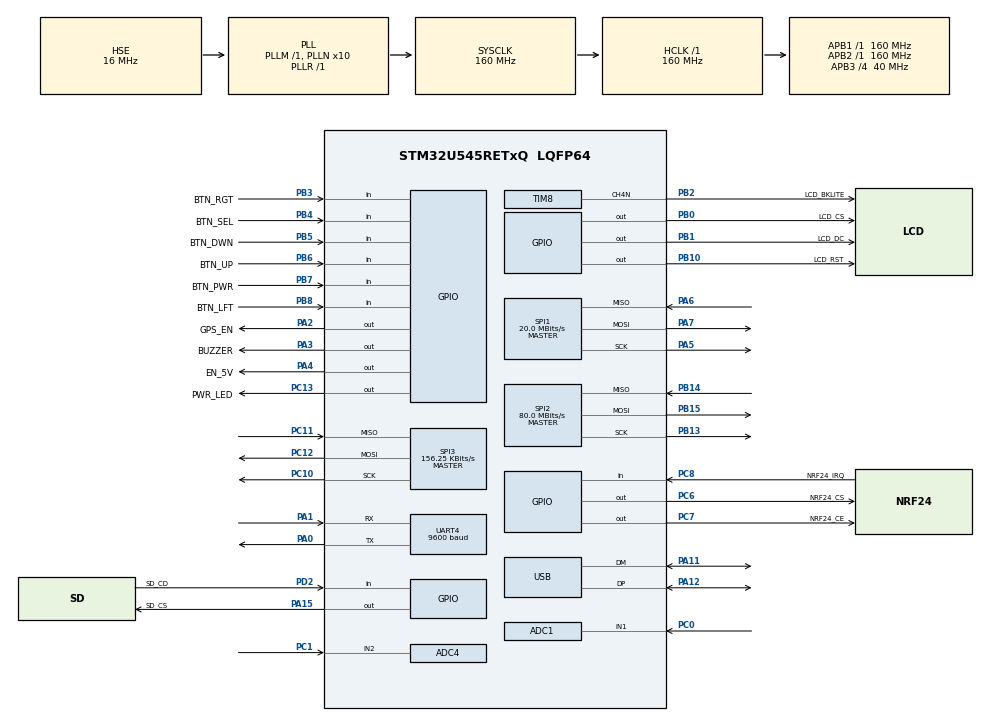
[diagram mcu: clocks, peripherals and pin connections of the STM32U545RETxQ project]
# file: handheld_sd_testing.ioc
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ADC1.Channel-6\#ChannelRegularConversion=ADC_CHANNEL_1
ADC1.ClockPrescaler=ADC_CLOCK_ASYNC_DIV4
ADC1.EnableAnalogWatchDog1=false
ADC1.MonitoredBy-6\#ChannelRegularConversion=__NULL
ADC1.NbrOfConversionFlag=1
ADC1.OffsetNumber-6\#ChannelRegularConversion=ADC_OFFSET_NONE
ADC1.Rank-6\#ChannelRegularConversion=1
ADC1.SamplingTime-6\#ChannelRegularConversion=ADC_SAMPLETIME_20CYCLES
ADC1.TriggerFrequencyMode=ADC_TRIGGER_FREQ_HIGH
ADC1.master=1
ADC4.Channel-2\#ChannelRegularConversion=ADC_CHANNEL_2
ADC4.ClockPrescaler=ADC_CLOCK_ASYNC_DIV4
ADC4.EnableRegularConversion=ENABLE
ADC4.NbrOfConversion=1
ADC4.NbrOfConversionFlag=1
ADC4.OffsetNumber-2\#ChannelRegularConversion=ADC_OFFSET_NONE
ADC4.Rank-2\#ChannelRegularConversion=1
ADC4.RankArg-2\#ChannelRegularConversion=ADC4_REGULAR_RANK_1
ADC4.SamplingTime-2\#ChannelRegularConversion=ADC4_SAMPLINGTIME_COMMON_1
ADC4.SelectedChannel=ADC_CHANNEL_2
CORTEX_M33_NS.userName=CORTEX_M33
GPDMA1.DATAHANDLING_GPDMACH0=NONE
GPDMA1.DESTBURSTLENGTH_GPDMACH0=1
GPDMA1.DESTDATAWIDTH_GPDMACH0=DMA_DEST_DATAWIDTH_HALFWORD
GPDMA1.DIRECTION_GPDMACH0=DMA_MEMORY_TO_PERIPH
GPDMA1.IPHANDLE_GPDMACH0-SIMPLEREQUEST_GPDMACH0=__NULL
GPDMA1.PRIORITY_GPDMACH0=DMA_LOW_PRIORITY_LOW_WEIGHT
GPDMA1.REQUEST_GPDMACH0=GPDMA1_REQUEST_SPI1_TX
GPDMA1.SRCBURSTLENGTH_GPDMACH0=1
GPDMA1.SRCDATAWIDTH_GPDMACH0=DMA_SRC_DATAWIDTH_HALFWORD
GPDMA1.SRCINC_GPDMACH0=DMA_SINC_INCREMENTED
GPDMA1.TRIGGERPOLARITY_GPDMACH0=DMA_TRIG_POLARITY_MASKED
Mcu.Family=STM32U5
Mcu.Name=STM32U545RETxQ
Mcu.Package=LQFP64
NVIC.ADC1_IRQn=true\:0\:0\:false\:false\:true\:true\:true\:true
NVIC.GPDMA1_Channel0_IRQn=true\:0\:0\:false\:false\:true\:false\:true\:true
NVIC.PriorityGroup=NVIC_PRIORITYGROUP_4
NVIC.SPI1_IRQn=true\:0\:0\:false\:false\:true\:false\:true\:true
NVIC.TIM6_IRQn=true\:0\:0\:false\:false\:true\:true\:true\:true
NVIC.UART4_IRQn=true\:0\:0\:false\:false\:true\:true\:true\:true
PA0.Mode=Asynchronous
PA0.Signal=UART4_TX
PA1.Mode=Asynchronous
PA1.Signal=UART4_RX
PA11.Mode=Host
PA11.Signal=USB_DM
PA12.Mode=Host
PA12.Signal=USB_DP
PA13\ (JTMS/SWDIO).Mode=Serial_Wire
PA13\ (JTMS/SWDIO).Signal=DEBUG_JTMS-SWDIO
PA14\ (JTCK/SWCLK).Mode=Serial_Wire
PA14\ (JTCK/SWCLK).Signal=DEBUG_JTCK-SWCLK
PA15\ (JTDI).GPIO_Label=SD_CS
PA15\ (JTDI).Signal=GPIO_Output
PA2.GPIO_Label=GPS_EN
PA2.Signal=GPIO_Output
PA3.GPIO_Label=BUZZER
PA3.Signal=GPIO_Output
PA4.GPIO_Label=EN_5V
PA4.Signal=GPIO_Output
PA5.Mode=Full_Duplex_Master
PA5.Signal=SPI1_SCK
PA6.Mode=Full_Duplex_Master
PA6.Signal=SPI1_MISO
PA7.Mode=Full_Duplex_Master
PA7.Signal=SPI1_MOSI
PB0.GPIO_Label=LCD_CS
PB0.Signal=GPIO_Output
PB1.GPIO_Label=LCD_DC
PB1.Signal=GPIO_Output
PB10.GPIO_Label=LCD_RST
PB10.Signal=GPIO_Output
PB13.Mode=Full_Duplex_Master
PB13.Signal=SPI2_SCK
PB14.Mode=Full_Duplex_Master
PB14.Signal=SPI2_MISO
PB15.Mode=Full_Duplex_Master
PB15.Signal=SPI2_MOSI
PB2.GPIO_Label=LCD_BKLITE
PB2.Mode=PWM Generation4 CH4N
PB2.Signal=TIM8_CH4N
PB3\ (JTDO/TRACESWO).GPIO_Label=BTN_RGT
PB3\ (JTDO/TRACESWO).Signal=GPIO_Input
PB4\ (NJTRST).GPIO_Label=BTN_SEL
PB4\ (NJTRST).Signal=GPIO_Input
PB5.GPIO_Label=BTN_DWN
PB5.Signal=GPIO_Input
PB6.GPIO_Label=BTN_UP
PB6.Signal=GPIO_Input
PB7.GPIO_Label=BTN_PWR
PB7.Signal=GPIO_Input
PB8.GPIO_Label=BTN_LFT
PB8.Signal=GPIO_Input
PC0.Mode=IN1-Single-Ended
PC0.Signal=ADC1_IN1
PC1.Mode=IN2
PC1.Signal=ADC4_IN2
PC10.Mode=Full_Duplex_Master
PC10.Signal=SPI3_SCK
PC11.Mode=Full_Duplex_Master
PC11.Signal=SPI3_MISO
PC12.Mode=Full_Duplex_Master
PC12.Signal=SPI3_MOSI
PC13.GPIO_Label=PWR_LED
PC13.Signal=GPIO_Output
PC6.GPIO_Label=NRF24_CS
PC6.Signal=GPIO_Output
PC7.GPIO_Label=NRF24_CE
PC7.Signal=GPIO_Output
PC8.GPIO_Label=NRF24_IRQ
PC8.Signal=GPIO_Input
PD2.GPIO_Label=SD_CD
PD2.Signal=GPIO_Input
PH0-OSC_IN\ (PH0).Mode=HSE-External-Oscillator
PH0-OSC_IN\ (PH0).Signal=RCC_OSC_IN
PH1-OSC_OUT\ (PH1).Mode=HSE-External-Oscillator
PH1-OSC_OUT\ (PH1).Signal=RCC_OSC_OUT
ProjectManager.HeapSize=0x200
ProjectManager.StackSize=0x400
ProjectManager.TargetToolchain=STM32CubeIDE
RCC.ADCCLockSelection=RCC_ADCDACCLKSOURCE_SYSCLK
RCC.ADCFreq_Value=160000000
RCC.AHBFreq_Value=160000000
RCC.APB1Freq_Value=160000000
RCC.APB1TimFreq_Value=160000000
RCC.APB2Freq_Value=160000000
RCC.APB2TimFreq_Value=160000000
RCC.APB3CLKDivider=RCC_HCLK_DIV4
RCC.APB3Freq_Value=40000000
RCC.CK48CLockSelection=RCC_CLK48CLKSOURCE_PLL2
RCC.CortexFreq_Value=160000000
RCC.DACCLockSelectionVirtual=RCC_DAC1CLKSOURCE_LSI
RCC.DACCLockSelectionVirtualString=RCC_DAC1CLKSOURCE_LSI
RCC.EPOD_VALUE=16000000
RCC.HCLKFreq_Value=160000000
RCC.HSE_VALUE=16000000
RCC.HSI48_VALUE=48000000
RCC.HSI_VALUE=16000000
RCC.LSE_VALUE=32768
RCC.LSIDIV_VALUE=32000
RCC.MSI_VALUE=4000000
RCC.PLL1Q=4
RCC.PLL1R=1
RCC.PLL2N=12
RCC.PLL2Q=4
RCC.PLL2Source=RCC_PLLSOURCE_HSE
RCC.PLLN=10
RCC.PLLSourceVirtual=RCC_PLLSOURCE_HSE
RCC.SPI3CLockSelection=RCC_SPI3CLKSOURCE_PCLK3
RCC.SYSCLKFreq_VALUE=160000000
RCC.SYSCLKSource=RCC_SYSCLKSOURCE_PLLCLK
RCC.USBFreq_Value=48000000
RCC.VCOOutputFreq_Value=160000000
SPI1.BaudRatePrescaler=SPI_BAUDRATEPRESCALER_8
SPI1.CalculateBaudRate=20.0 MBits/s
SPI1.DataSize=SPI_DATASIZE_8BIT
SPI1.Direction=SPI_DIRECTION_2LINES
SPI1.Mode=SPI_MODE_MASTER
SPI1.VirtualType=VM_MASTER
SPI2.BaudRatePrescaler=SPI_BAUDRATEPRESCALER_2
SPI2.CalculateBaudRate=80.0 MBits/s
SPI2.Direction=SPI_DIRECTION_2LINES
SPI2.Mode=SPI_MODE_MASTER
SPI2.VirtualType=VM_MASTER
SPI3.BaudRatePrescaler=SPI_BAUDRATEPRESCALER_256
SPI3.CalculateBaudRate=156.25 KBits/s
SPI3.Direction=SPI_DIRECTION_2LINES
SPI3.Mode=SPI_MODE_MASTER
SPI3.VirtualType=VM_MASTER
STMicroelectronics.X-CUBE-TOUCHGFX.4.23.2.tgfx_address1=0x20000000
STMicroelectronics.X-CUBE-TOUCHGFX.4.23.2.tgfx_custom_height=240
STMicroelectronics.X-CUBE-TOUCHGFX.4.23.2.tgfx_custom_width=320
STMicroelectronics.X-CUBE-TOUCHGFX.4.23.2.tgfx_location=Allocate
STMicroelectronics.X-CUBE-TOUCHGFX.4.23.2_IsPackSelfContextualization=true
TIM6.AutoReloadPreload=TIM_AUTORELOAD_PRELOAD_DISABLE
TIM6.PeriodNoDither=333
TIM6.Prescaler=16000
TIM6.TIM_MasterOutputTrigger=TIM_TRGO_RESET
TIM8.AutoReloadPreload=TIM_AUTORELOAD_PRELOAD_ENABLE
TIM8.Channel-PWM\ Generation4\ CH4N=TIM_CHANNEL_4
TIM8.OCNIdleState_4=TIM_OCNIDLESTATE_RESET
TIM8.PeriodNoDither=1600
TIM8.PulseNoDither_4=800
UART4.BaudRate=9600
UART4.Mode=MODE_RX
VP_CRC_VS_CRC.Mode=CRC_Activate
VP_GPDMA1_VS_GPDMACH0.Mode=SIMPLEREQUEST_GPDMACH0
VP_LPBAMQUEUE_VS_QUEUE.Mode=QUEUEMODE
VP_LPBAM_VS_SIG1.Mode=SmartRun
VP_LPBAM_VS_SIG4.Mode=LPDMA1
VP_MEMORYMAP_VS_MEMORYMAP.Mode=CurAppReg
VP_PWR_VS_SECSignals.Mode=Security/Privilege
VP_PWR_Vdda.Mode=isolationVdda
VP_TIM6_VS_ClockSourceINT.Mode=Enable_Timer
board=custom

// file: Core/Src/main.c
/* USER CODE BEGIN Header */
/**
  ******************************************************************************
  * @file           : main.c
  * @brief          : Main program body
  ******************************************************************************
  * @attention
  *
  * Copyright (c) 2024 STMicroelectronics.
  * All rights reserved.
  *
  * This software is licensed under terms that can be found in the LICENSE file
  * in the root directory of this software component.
  * If no LICENSE file comes with this software, it is provided AS-IS.
  *
  ******************************************************************************
  */
/* USER CODE END Header */
#include "main.h"

/* USER CODE BEGIN Includes */
#include "fatfs.h"
#include <stdio.h>
#include <string.h>
#include <stdarg.h>
/* USER CODE END Includes */

ADC_HandleTypeDef hadc1;
ADC_HandleTypeDef hadc4;

CRC_HandleTypeDef hcrc;

SPI_HandleTypeDef hspi1;
SPI_HandleTypeDef hspi2;
SPI_HandleTypeDef hspi3;
DMA_HandleTypeDef handle_GPDMA1_Channel0;

TIM_HandleTypeDef htim6;
TIM_HandleTypeDef htim8;

UART_HandleTypeDef huart4;

HCD_HandleTypeDef hhcd_USB_DRD_FS;

void SystemClock_Config(void);
static void MX_GPIO_Init(void);
static void MX_GPDMA1_Init(void);
static void MX_SPI2_Init(void);
static void MX_SPI3_Init(void);
static void MX_USB_DRD_FS_HCD_Init(void);
static void MX_ADC1_Init(void);
static void MX_ADC4_Init(void);
static void MX_TIM8_Init(void);
static void MX_SPI1_Init(void);
static void MX_CRC_Init(void);
static void MX_UART4_Init(void);
static void MX_TIM6_Init(void);

int main(void)
{

  /* MCU Configuration--------------------------------------------------------*/

  /* Reset of all peripherals, Initializes the Flash interface and the Systick. */
  HAL_Init();

  /* Configure the system clock */
  SystemClock_Config();

  /* Initialize all configured peripherals */
  MX_GPIO_Init();
  MX_GPDMA1_Init();
  MX_SPI2_Init();
  MX_SPI3_Init();
  MX_USB_DRD_FS_HCD_Init();
  MX_ADC1_Init();
  MX_ADC4_Init();
  MX_TIM8_Init();
  MX_SPI1_Init();
  MX_CRC_Init();
  MX_UART4_Init();
  MX_TIM6_Init();
  /* USER CODE BEGIN 2 */

  HAL_Delay(1000);	// Let SD card power up.

  //some variables for FatFs
  FATFS FatFs; 	//Fatfs handle
  FIL fil; 		//File handle
  FRESULT fres; //Result after operations

  fres = f_mount(&FatFs, "", 1); //1=mount now
  if (fres != FR_OK) {
	  while(1);		// FatFS Mount Error.
  }

  //Let's get some statistics from the SD card
	DWORD free_clusters, free_sectors, total_sectors;

	FATFS* getFreeFs;

	fres = f_getfree("", &free_clusters, &getFreeFs);
	if (fres != FR_OK) {
		while(1);	// Getfree error occurred
	}

	//Formula comes from ChaN's documentation
	  total_sectors = (getFreeFs->n_fatent - 2) * getFreeFs->csize;
	  free_sectors = free_clusters * getFreeFs->csize;

	  //Now let's try to open file "test.txt"
	    fres = f_open(&fil, "test.txt", FA_READ);
	    if (fres != FR_OK) {
	  	while(1);
	    }

	    //Read 30 bytes from "test.txt" on the SD card
	      BYTE readBuf[30];

	      //We can either use f_read OR f_gets to get data out of files
	      //f_gets is a wrapper on f_read that does some string formatting for us
	      TCHAR* rres = f_gets((TCHAR*)readBuf, 30, &fil);

	      //Close the file.
	      f_close(&fil);

	      //Open a new file "write.txt"
	      fres = f_open(&fil, "write.txt", FA_WRITE | FA_OPEN_ALWAYS | FA_CREATE_ALWAYS);

	      //Write to the file
	      strncpy((char*)readBuf, "a new file is made!", 19);
	        UINT bytesWrote;
	        fres = f_write(&fil, readBuf, 19, &bytesWrote);

	        //Close file.
	        f_close(&fil);

	        //Unmount the SD card.
	        f_mount(NULL, "", 0);

  /* USER CODE END 2 */

  /* Infinite loop */
  while (1)
  {

  }
}

void SystemClock_Config(void)
{
  RCC_OscInitTypeDef RCC_OscInitStruct = {0};
  RCC_ClkInitTypeDef RCC_ClkInitStruct = {0};

  /** Configure the main internal regulator output voltage
  */
  if (HAL_PWREx_ControlVoltageScaling(PWR_REGULATOR_VOLTAGE_SCALE1) != HAL_OK)
  {
    Error_Handler();
  }

  /** Initializes the CPU, AHB and APB buses clocks
  */
  RCC_OscInitStruct.OscillatorType = RCC_OSCILLATORTYPE_HSE;
  RCC_OscInitStruct.HSEState = RCC_HSE_ON;
  RCC_OscInitStruct.PLL.PLLState = RCC_PLL_ON;
  RCC_OscInitStruct.PLL.PLLSource = RCC_PLLSOURCE_HSE;
  RCC_OscInitStruct.PLL.PLLMBOOST = RCC_PLLMBOOST_DIV1;
  RCC_OscInitStruct.PLL.PLLM = 1;
  RCC_OscInitStruct.PLL.PLLN = 10;
  RCC_OscInitStruct.PLL.PLLP = 2;
  RCC_OscInitStruct.PLL.PLLQ = 4;
  RCC_OscInitStruct.PLL.PLLR = 1;
  RCC_OscInitStruct.PLL.PLLRGE = RCC_PLLVCIRANGE_1;
  RCC_OscInitStruct.PLL.PLLFRACN = 0;
  if (HAL_RCC_OscConfig(&RCC_OscInitStruct) != HAL_OK)
  {
    Error_Handler();
  }

  /** Initializes the CPU, AHB and APB buses clocks
  */
  RCC_ClkInitStruct.ClockType = RCC_CLOCKTYPE_HCLK|RCC_CLOCKTYPE_SYSCLK
                              |RCC_CLOCKTYPE_PCLK1|RCC_CLOCKTYPE_PCLK2
                              |RCC_CLOCKTYPE_PCLK3;
  RCC_ClkInitStruct.SYSCLKSource = RCC_SYSCLKSOURCE_PLLCLK;
  RCC_ClkInitStruct.AHBCLKDivider = RCC_SYSCLK_DIV1;
  RCC_ClkInitStruct.APB1CLKDivider = RCC_HCLK_DIV1;
  RCC_ClkInitStruct.APB2CLKDivider = RCC_HCLK_DIV1;
  RCC_ClkInitStruct.APB3CLKDivider = RCC_HCLK_DIV4;

  if (HAL_RCC_ClockConfig(&RCC_ClkInitStruct, FLASH_LATENCY_4) != HAL_OK)
  {
    Error_Handler();
  }
}

static void MX_ADC1_Init(void)
{

  ADC_ChannelConfTypeDef sConfig = {0};

  /** Common config
  */
  hadc1.Instance = ADC1;
  hadc1.Init.ClockPrescaler = ADC_CLOCK_ASYNC_DIV4;
  hadc1.Init.Resolution = ADC_RESOLUTION_14B;
  hadc1.Init.GainCompensation = 0;
  hadc1.Init.DataAlign = ADC_DATAALIGN_RIGHT;
  hadc1.Init.ScanConvMode = ADC_SCAN_DISABLE;
  hadc1.Init.EOCSelection = ADC_EOC_SINGLE_CONV;
  hadc1.Init.LowPowerAutoWait = DISABLE;
  hadc1.Init.ContinuousConvMode = DISABLE;
  hadc1.Init.NbrOfConversion = 1;
  hadc1.Init.DiscontinuousConvMode = DISABLE;
  hadc1.Init.ExternalTrigConv = ADC_SOFTWARE_START;
  hadc1.Init.ExternalTrigConvEdge = ADC_EXTERNALTRIGCONVEDGE_NONE;
  hadc1.Init.DMAContinuousRequests = DISABLE;
  hadc1.Init.TriggerFrequencyMode = ADC_TRIGGER_FREQ_HIGH;
  hadc1.Init.Overrun = ADC_OVR_DATA_PRESERVED;
  hadc1.Init.LeftBitShift = ADC_LEFTBITSHIFT_NONE;
  hadc1.Init.ConversionDataManagement = ADC_CONVERSIONDATA_DR;
  hadc1.Init.OversamplingMode = DISABLE;
  if (HAL_ADC_Init(&hadc1) != HAL_OK)
  {
    Error_Handler();
  }

  /** Configure Regular Channel
  */
  sConfig.Channel = ADC_CHANNEL_1;
  sConfig.Rank = ADC_REGULAR_RANK_1;
  sConfig.SamplingTime = ADC_SAMPLETIME_20CYCLES;
  sConfig.SingleDiff = ADC_SINGLE_ENDED;
  sConfig.OffsetNumber = ADC_OFFSET_NONE;
  sConfig.Offset = 0;
  if (HAL_ADC_ConfigChannel(&hadc1, &sConfig) != HAL_OK)
  {
    Error_Handler();
  }

}

static void MX_ADC4_Init(void)
{

  ADC_ChannelConfTypeDef sConfig = {0};

  /** Common config
  */
  hadc4.Instance = ADC4;
  hadc4.Init.ClockPrescaler = ADC_CLOCK_ASYNC_DIV4;
  hadc4.Init.Resolution = ADC_RESOLUTION_12B;
  hadc4.Init.DataAlign = ADC_DATAALIGN_RIGHT;
  hadc4.Init.ScanConvMode = ADC4_SCAN_DISABLE;
  hadc4.Init.EOCSelection = ADC_EOC_SINGLE_CONV;
  hadc4.Init.LowPowerAutoPowerOff = ADC_LOW_POWER_NONE;
  hadc4.Init.LowPowerAutoWait = DISABLE;
  hadc4.Init.ContinuousConvMode = DISABLE;
  hadc4.Init.NbrOfConversion = 1;
  hadc4.Init.DiscontinuousConvMode = DISABLE;
  hadc4.Init.ExternalTrigConv = ADC_SOFTWARE_START;
  hadc4.Init.ExternalTrigConvEdge = ADC_EXTERNALTRIGCONVEDGE_NONE;
  hadc4.Init.DMAContinuousRequests = DISABLE;
  hadc4.Init.TriggerFrequencyMode = ADC_TRIGGER_FREQ_LOW;
  hadc4.Init.Overrun = ADC_OVR_DATA_PRESERVED;
  hadc4.Init.SamplingTimeCommon1 = ADC4_SAMPLETIME_1CYCLE_5;
  hadc4.Init.SamplingTimeCommon2 = ADC4_SAMPLETIME_1CYCLE_5;
  hadc4.Init.OversamplingMode = DISABLE;
  if (HAL_ADC_Init(&hadc4) != HAL_OK)
  {
    Error_Handler();
  }

  /** Configure Regular Channel
  */
  sConfig.Channel = ADC_CHANNEL_2;
  sConfig.Rank = ADC4_REGULAR_RANK_1;
  sConfig.SamplingTime = ADC4_SAMPLINGTIME_COMMON_1;
  sConfig.OffsetNumber = ADC_OFFSET_NONE;
  sConfig.Offset = 0;
  if (HAL_ADC_ConfigChannel(&hadc4, &sConfig) != HAL_OK)
  {
    Error_Handler();
  }

}

static void MX_CRC_Init(void)
{

  hcrc.Instance = CRC;
  hcrc.Init.DefaultPolynomialUse = DEFAULT_POLYNOMIAL_ENABLE;
  hcrc.Init.DefaultInitValueUse = DEFAULT_INIT_VALUE_ENABLE;
  hcrc.Init.InputDataInversionMode = CRC_INPUTDATA_INVERSION_NONE;
  hcrc.Init.OutputDataInversionMode = CRC_OUTPUTDATA_INVERSION_DISABLE;
  hcrc.InputDataFormat = CRC_INPUTDATA_FORMAT_BYTES;
  if (HAL_CRC_Init(&hcrc) != HAL_OK)
  {
    Error_Handler();
  }

}

static void MX_GPDMA1_Init(void)
{

  /* Peripheral clock enable */
  __HAL_RCC_GPDMA1_CLK_ENABLE();

  /* GPDMA1 interrupt Init */
    HAL_NVIC_SetPriority(GPDMA1_Channel0_IRQn, 0, 0);
    HAL_NVIC_EnableIRQ(GPDMA1_Channel0_IRQn);

}

static void MX_SPI1_Init(void)
{

  SPI_AutonomousModeConfTypeDef HAL_SPI_AutonomousMode_Cfg_Struct = {0};

  /* SPI1 parameter configuration*/
  hspi1.Instance = SPI1;
  hspi1.Init.Mode = SPI_MODE_MASTER;
  hspi1.Init.Direction = SPI_DIRECTION_2LINES;
  hspi1.Init.DataSize = SPI_DATASIZE_8BIT;
  hspi1.Init.CLKPolarity = SPI_POLARITY_LOW;
  hspi1.Init.CLKPhase = SPI_PHASE_1EDGE;
  hspi1.Init.NSS = SPI_NSS_SOFT;
  hspi1.Init.BaudRatePrescaler = SPI_BAUDRATEPRESCALER_8;
  hspi1.Init.FirstBit = SPI_FIRSTBIT_MSB;
  hspi1.Init.TIMode = SPI_TIMODE_DISABLE;
  hspi1.Init.CRCCalculation = SPI_CRCCALCULATION_DISABLE;
  hspi1.Init.CRCPolynomial = 0x7;
  hspi1.Init.NSSPMode = SPI_NSS_PULSE_ENABLE;
  hspi1.Init.NSSPolarity = SPI_NSS_POLARITY_LOW;
  hspi1.Init.FifoThreshold = SPI_FIFO_THRESHOLD_01DATA;
  hspi1.Init.MasterSSIdleness = SPI_MASTER_SS_IDLENESS_00CYCLE;
  hspi1.Init.MasterInterDataIdleness = SPI_MASTER_INTERDATA_IDLENESS_00CYCLE;
  hspi1.Init.MasterReceiverAutoSusp = SPI_MASTER_RX_AUTOSUSP_DISABLE;
  hspi1.Init.MasterKeepIOState = SPI_MASTER_KEEP_IO_STATE_DISABLE;
  hspi1.Init.IOSwap = SPI_IO_SWAP_DISABLE;
  hspi1.Init.ReadyMasterManagement = SPI_RDY_MASTER_MANAGEMENT_INTERNALLY;
  hspi1.Init.ReadyPolarity = SPI_RDY_POLARITY_HIGH;
  if (HAL_SPI_Init(&hspi1) != HAL_OK)
  {
    Error_Handler();
  }
  HAL_SPI_AutonomousMode_Cfg_Struct.TriggerState = SPI_AUTO_MODE_DISABLE;
  HAL_SPI_AutonomousMode_Cfg_Struct.TriggerSelection = SPI_GRP1_GPDMA_CH0_TCF_TRG;
  HAL_SPI_AutonomousMode_Cfg_Struct.TriggerPolarity = SPI_TRIG_POLARITY_RISING;
  if (HAL_SPIEx_SetConfigAutonomousMode(&hspi1, &HAL_SPI_AutonomousMode_Cfg_Struct) != HAL_OK)
  {
    Error_Handler();
  }

}

static void MX_SPI2_Init(void)
{

  SPI_AutonomousModeConfTypeDef HAL_SPI_AutonomousMode_Cfg_Struct = {0};

  /* SPI2 parameter configuration*/
  hspi2.Instance = SPI2;
  hspi2.Init.Mode = SPI_MODE_MASTER;
  hspi2.Init.Direction = SPI_DIRECTION_2LINES;
  hspi2.Init.DataSize = SPI_DATASIZE_4BIT;
  hspi2.Init.CLKPolarity = SPI_POLARITY_LOW;
  hspi2.Init.CLKPhase = SPI_PHASE_1EDGE;
  hspi2.Init.NSS = SPI_NSS_SOFT;
  hspi2.Init.BaudRatePrescaler = SPI_BAUDRATEPRESCALER_2;
  hspi2.Init.FirstBit = SPI_FIRSTBIT_MSB;
  hspi2.Init.TIMode = SPI_TIMODE_DISABLE;
  hspi2.Init.CRCCalculation = SPI_CRCCALCULATION_DISABLE;
  hspi2.Init.CRCPolynomial = 0x7;
  hspi2.Init.NSSPMode = SPI_NSS_PULSE_ENABLE;
  hspi2.Init.NSSPolarity = SPI_NSS_POLARITY_LOW;
  hspi2.Init.FifoThreshold = SPI_FIFO_THRESHOLD_01DATA;
  hspi2.Init.MasterSSIdleness = SPI_MASTER_SS_IDLENESS_00CYCLE;
  hspi2.Init.MasterInterDataIdleness = SPI_MASTER_INTERDATA_IDLENESS_00CYCLE;
  hspi2.Init.MasterReceiverAutoSusp = SPI_MASTER_RX_AUTOSUSP_DISABLE;
  hspi2.Init.MasterKeepIOState = SPI_MASTER_KEEP_IO_STATE_DISABLE;
  hspi2.Init.IOSwap = SPI_IO_SWAP_DISABLE;
  hspi2.Init.ReadyMasterManagement = SPI_RDY_MASTER_MANAGEMENT_INTERNALLY;
  hspi2.Init.ReadyPolarity = SPI_RDY_POLARITY_HIGH;
  if (HAL_SPI_Init(&hspi2) != HAL_OK)
  {
    Error_Handler();
  }
  HAL_SPI_AutonomousMode_Cfg_Struct.TriggerState = SPI_AUTO_MODE_DISABLE;
  HAL_SPI_AutonomousMode_Cfg_Struct.TriggerSelection = SPI_GRP1_GPDMA_CH0_TCF_TRG;
  HAL_SPI_AutonomousMode_Cfg_Struct.TriggerPolarity = SPI_TRIG_POLARITY_RISING;
  if (HAL_SPIEx_SetConfigAutonomousMode(&hspi2, &HAL_SPI_AutonomousMode_Cfg_Struct) != HAL_OK)
  {
    Error_Handler();
  }

}

static void MX_SPI3_Init(void)
{

  SPI_AutonomousModeConfTypeDef HAL_SPI_AutonomousMode_Cfg_Struct = {0};

  /* SPI3 parameter configuration*/
  hspi3.Instance = SPI3;
  hspi3.Init.Mode = SPI_MODE_MASTER;
  hspi3.Init.Direction = SPI_DIRECTION_2LINES;
  hspi3.Init.DataSize = SPI_DATASIZE_8BIT;
  hspi3.Init.CLKPolarity = SPI_POLARITY_LOW;
  hspi3.Init.CLKPhase = SPI_PHASE_1EDGE;
  hspi3.Init.NSS = SPI_NSS_SOFT;
  hspi3.Init.BaudRatePrescaler = SPI_BAUDRATEPRESCALER_256;
  hspi3.Init.FirstBit = SPI_FIRSTBIT_MSB;
  hspi3.Init.TIMode = SPI_TIMODE_DISABLE;
  hspi3.Init.CRCCalculation = SPI_CRCCALCULATION_DISABLE;
  hspi3.Init.CRCPolynomial = 0x7;
  hspi3.Init.NSSPMode = SPI_NSS_PULSE_ENABLE;
  hspi3.Init.NSSPolarity = SPI_NSS_POLARITY_LOW;
  hspi3.Init.FifoThreshold = SPI_FIFO_THRESHOLD_01DATA;
  hspi3.Init.MasterSSIdleness = SPI_MASTER_SS_IDLENESS_00CYCLE;
  hspi3.Init.MasterInterDataIdleness = SPI_MASTER_INTERDATA_IDLENESS_00CYCLE;
  hspi3.Init.MasterReceiverAutoSusp = SPI_MASTER_RX_AUTOSUSP_DISABLE;
  hspi3.Init.MasterKeepIOState = SPI_MASTER_KEEP_IO_STATE_DISABLE;
  hspi3.Init.IOSwap = SPI_IO_SWAP_DISABLE;
  hspi3.Init.ReadyMasterManagement = SPI_RDY_MASTER_MANAGEMENT_INTERNALLY;
  hspi3.Init.ReadyPolarity = SPI_RDY_POLARITY_HIGH;
  if (HAL_SPI_Init(&hspi3) != HAL_OK)
  {
    Error_Handler();
  }
  HAL_SPI_AutonomousMode_Cfg_Struct.TriggerState = SPI_AUTO_MODE_DISABLE;
  HAL_SPI_AutonomousMode_Cfg_Struct.TriggerSelection = SPI_GRP2_LPDMA_CH0_TCF_TRG;
  HAL_SPI_AutonomousMode_Cfg_Struct.TriggerPolarity = SPI_TRIG_POLARITY_RISING;
  if (HAL_SPIEx_SetConfigAutonomousMode(&hspi3, &HAL_SPI_AutonomousMode_Cfg_Struct) != HAL_OK)
  {
    Error_Handler();
  }

}

static void MX_TIM6_Init(void)
{

  TIM_MasterConfigTypeDef sMasterConfig = {0};

  htim6.Instance = TIM6;
  htim6.Init.Prescaler = 16000;
  htim6.Init.CounterMode = TIM_COUNTERMODE_UP;
  htim6.Init.Period = 333;
  htim6.Init.AutoReloadPreload = TIM_AUTORELOAD_PRELOAD_DISABLE;
  if (HAL_TIM_Base_Init(&htim6) != HAL_OK)
  {
    Error_Handler();
  }
  sMasterConfig.MasterOutputTrigger = TIM_TRGO_RESET;
  sMasterConfig.MasterSlaveMode = TIM_MASTERSLAVEMODE_DISABLE;
  if (HAL_TIMEx_MasterConfigSynchronization(&htim6, &sMasterConfig) != HAL_OK)
  {
    Error_Handler();
  }

}

static void MX_TIM8_Init(void)
{

  TIM_MasterConfigTypeDef sMasterConfig = {0};
  TIM_OC_InitTypeDef sConfigOC = {0};
  TIM_BreakDeadTimeConfigTypeDef sBreakDeadTimeConfig = {0};

  htim8.Instance = TIM8;
  htim8.Init.Prescaler = 0;
  htim8.Init.CounterMode = TIM_COUNTERMODE_UP;
  htim8.Init.Period = 1600;
  htim8.Init.ClockDivision = TIM_CLOCKDIVISION_DIV1;
  htim8.Init.RepetitionCounter = 0;
  htim8.Init.AutoReloadPreload = TIM_AUTORELOAD_PRELOAD_ENABLE;
  if (HAL_TIM_PWM_Init(&htim8) != HAL_OK)
  {
    Error_Handler();
  }
  sMasterConfig.MasterOutputTrigger = TIM_TRGO_RESET;
  sMasterConfig.MasterOutputTrigger2 = TIM_TRGO2_RESET;
  sMasterConfig.MasterSlaveMode = TIM_MASTERSLAVEMODE_DISABLE;
  if (HAL_TIMEx_MasterConfigSynchronization(&htim8, &sMasterConfig) != HAL_OK)
  {
    Error_Handler();
  }
  sConfigOC.OCMode = TIM_OCMODE_PWM1;
  sConfigOC.Pulse = 800;
  sConfigOC.OCPolarity = TIM_OCPOLARITY_HIGH;
  sConfigOC.OCNPolarity = TIM_OCNPOLARITY_HIGH;
  sConfigOC.OCFastMode = TIM_OCFAST_DISABLE;
  sConfigOC.OCIdleState = TIM_OCIDLESTATE_RESET;
  sConfigOC.OCNIdleState = TIM_OCNIDLESTATE_RESET;
  if (HAL_TIM_PWM_ConfigChannel(&htim8, &sConfigOC, TIM_CHANNEL_4) != HAL_OK)
  {
    Error_Handler();
  }
  sBreakDeadTimeConfig.OffStateRunMode = TIM_OSSR_DISABLE;
  sBreakDeadTimeConfig.OffStateIDLEMode = TIM_OSSI_DISABLE;
  sBreakDeadTimeConfig.LockLevel = TIM_LOCKLEVEL_OFF;
  sBreakDeadTimeConfig.DeadTime = 0;
  sBreakDeadTimeConfig.BreakState = TIM_BREAK_DISABLE;
  sBreakDeadTimeConfig.BreakPolarity = TIM_BREAKPOLARITY_HIGH;
  sBreakDeadTimeConfig.BreakFilter = 0;
  sBreakDeadTimeConfig.BreakAFMode = TIM_BREAK_AFMODE_INPUT;
  sBreakDeadTimeConfig.Break2State = TIM_BREAK2_DISABLE;
  sBreakDeadTimeConfig.Break2Polarity = TIM_BREAK2POLARITY_HIGH;
  sBreakDeadTimeConfig.Break2Filter = 0;
  sBreakDeadTimeConfig.Break2AFMode = TIM_BREAK_AFMODE_INPUT;
  sBreakDeadTimeConfig.AutomaticOutput = TIM_AUTOMATICOUTPUT_DISABLE;
  if (HAL_TIMEx_ConfigBreakDeadTime(&htim8, &sBreakDeadTimeConfig) != HAL_OK)
  {
    Error_Handler();
  }
  HAL_TIM_MspPostInit(&htim8);

}

static void MX_UART4_Init(void)
{

  huart4.Instance = UART4;
  huart4.Init.BaudRate = 9600;
  huart4.Init.WordLength = UART_WORDLENGTH_8B;
  huart4.Init.StopBits = UART_STOPBITS_1;
  huart4.Init.Parity = UART_PARITY_NONE;
  huart4.Init.Mode = UART_MODE_RX;
  huart4.Init.HwFlowCtl = UART_HWCONTROL_NONE;
  huart4.Init.OverSampling = UART_OVERSAMPLING_16;
  huart4.Init.OneBitSampling = UART_ONE_BIT_SAMPLE_DISABLE;
  huart4.Init.ClockPrescaler = UART_PRESCALER_DIV1;
  huart4.AdvancedInit.AdvFeatureInit = UART_ADVFEATURE_NO_INIT;
  if (HAL_UART_Init(&huart4) != HAL_OK)
  {
    Error_Handler();
  }
  if (HAL_UARTEx_SetTxFifoThreshold(&huart4, UART_TXFIFO_THRESHOLD_1_8) != HAL_OK)
  {
    Error_Handler();
  }
  if (HAL_UARTEx_SetRxFifoThreshold(&huart4, UART_RXFIFO_THRESHOLD_1_8) != HAL_OK)
  {
    Error_Handler();
  }
  if (HAL_UARTEx_DisableFifoMode(&huart4) != HAL_OK)
  {
    Error_Handler();
  }

}

static void MX_USB_DRD_FS_HCD_Init(void)
{

  hhcd_USB_DRD_FS.Instance = USB_DRD_FS;
  hhcd_USB_DRD_FS.Init.dev_endpoints = 8;
  hhcd_USB_DRD_FS.Init.Host_channels = 8;
  hhcd_USB_DRD_FS.Init.speed = HCD_SPEED_FULL;
  hhcd_USB_DRD_FS.Init.phy_itface = HCD_PHY_EMBEDDED;
  hhcd_USB_DRD_FS.Init.Sof_enable = DISABLE;
  hhcd_USB_DRD_FS.Init.low_power_enable = DISABLE;
  hhcd_USB_DRD_FS.Init.vbus_sensing_enable = DISABLE;
  hhcd_USB_DRD_FS.Init.bulk_doublebuffer_enable = DISABLE;
  hhcd_USB_DRD_FS.Init.iso_singlebuffer_enable = DISABLE;
  if (HAL_HCD_Init(&hhcd_USB_DRD_FS) != HAL_OK)
  {
    Error_Handler();
  }

}

static void MX_GPIO_Init(void)
{
  GPIO_InitTypeDef GPIO_InitStruct = {0};

  /* GPIO Ports Clock Enable */
  __HAL_RCC_GPIOC_CLK_ENABLE();
  __HAL_RCC_GPIOH_CLK_ENABLE();
  __HAL_RCC_GPIOA_CLK_ENABLE();
  __HAL_RCC_GPIOB_CLK_ENABLE();
  __HAL_RCC_GPIOD_CLK_ENABLE();

  /*Configure GPIO pin Output Level */
  HAL_GPIO_WritePin(GPIOC, PWR_LED_Pin|NRF24_CS_Pin|NRF24_CE_Pin, GPIO_PIN_RESET);

  /*Configure GPIO pin Output Level */
  HAL_GPIO_WritePin(GPIOA, GPS_EN_Pin|BUZZER_Pin|EN_5V_Pin|SD_CS_Pin, GPIO_PIN_RESET);

  /*Configure GPIO pin Output Level */
  HAL_GPIO_WritePin(GPIOB, LCD_CS_Pin|LCD_DC_Pin|LCD_RST_Pin, GPIO_PIN_RESET);

  /*Configure GPIO pins : PWR_LED_Pin NRF24_CS_Pin NRF24_CE_Pin */
  GPIO_InitStruct.Pin = PWR_LED_Pin|NRF24_CS_Pin|NRF24_CE_Pin;
  GPIO_InitStruct.Mode = GPIO_MODE_OUTPUT_PP;
  GPIO_InitStruct.Pull = GPIO_NOPULL;
  GPIO_InitStruct.Speed = GPIO_SPEED_FREQ_LOW;
  HAL_GPIO_Init(GPIOC, &GPIO_InitStruct);

  /*Configure GPIO pins : GPS_EN_Pin BUZZER_Pin EN_5V_Pin SD_CS_Pin */
  GPIO_InitStruct.Pin = GPS_EN_Pin|BUZZER_Pin|EN_5V_Pin|SD_CS_Pin;
  GPIO_InitStruct.Mode = GPIO_MODE_OUTPUT_PP;
  GPIO_InitStruct.Pull = GPIO_NOPULL;
  GPIO_InitStruct.Speed = GPIO_SPEED_FREQ_LOW;
  HAL_GPIO_Init(GPIOA, &GPIO_InitStruct);

  /*Configure GPIO pins : LCD_CS_Pin LCD_DC_Pin LCD_RST_Pin */
  GPIO_InitStruct.Pin = LCD_CS_Pin|LCD_DC_Pin|LCD_RST_Pin;
  GPIO_InitStruct.Mode = GPIO_MODE_OUTPUT_PP;
  GPIO_InitStruct.Pull = GPIO_NOPULL;
  GPIO_InitStruct.Speed = GPIO_SPEED_FREQ_LOW;
  HAL_GPIO_Init(GPIOB, &GPIO_InitStruct);

  /*Configure GPIO pin : NRF24_IRQ_Pin */
  GPIO_InitStruct.Pin = NRF24_IRQ_Pin;
  GPIO_InitStruct.Mode = GPIO_MODE_INPUT;
  GPIO_InitStruct.Pull = GPIO_NOPULL;
  HAL_GPIO_Init(NRF24_IRQ_GPIO_Port, &GPIO_InitStruct);

  /*Configure GPIO pin : SD_CD_Pin */
  GPIO_InitStruct.Pin = SD_CD_Pin;
  GPIO_InitStruct.Mode = GPIO_MODE_INPUT;
  GPIO_InitStruct.Pull = GPIO_NOPULL;
  HAL_GPIO_Init(SD_CD_GPIO_Port, &GPIO_InitStruct);

  /*Configure GPIO pins : BTN_RGT_Pin BTN_SEL_Pin BTN_DWN_Pin BTN_UP_Pin
                           BTN_PWR_Pin BTN_LFT_Pin */
  GPIO_InitStruct.Pin = BTN_RGT_Pin|BTN_SEL_Pin|BTN_DWN_Pin|BTN_UP_Pin
                          |BTN_PWR_Pin|BTN_LFT_Pin;
  GPIO_InitStruct.Mode = GPIO_MODE_INPUT;
  GPIO_InitStruct.Pull = GPIO_NOPULL;
  HAL_GPIO_Init(GPIOB, &GPIO_InitStruct);

}

void Error_Handler(void)
{
  __disable_irq();
  while (1)
  {
  }
}
